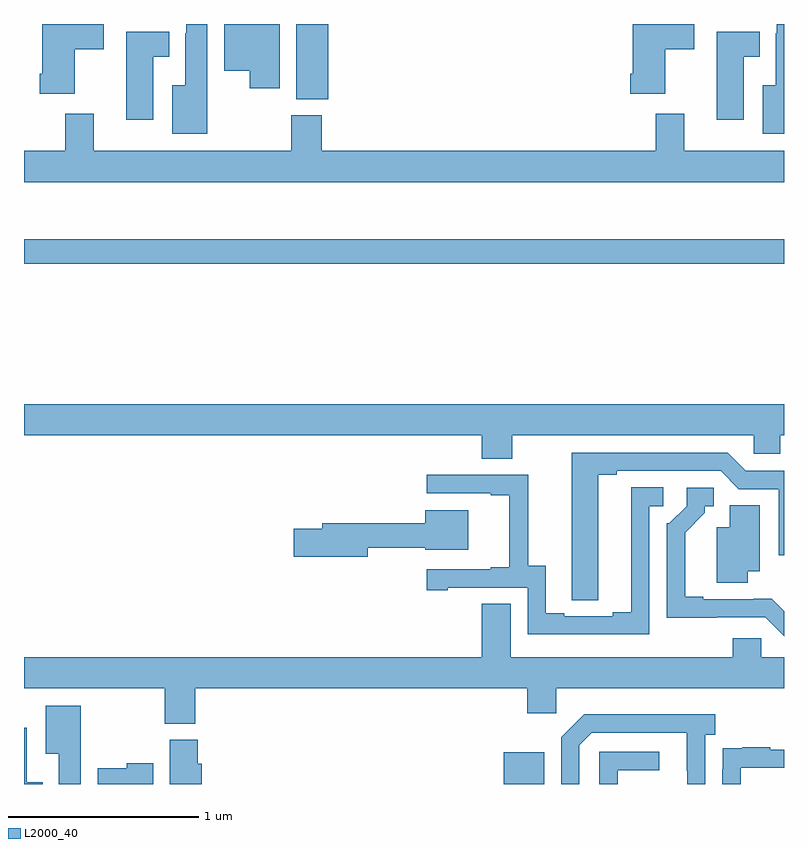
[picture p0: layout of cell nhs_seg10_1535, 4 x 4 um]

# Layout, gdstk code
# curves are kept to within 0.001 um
import gdstk
lib = gdstk.Library(unit=1e-6, precision=1e-09)
def R(c, l, rs):  # rectangles x0, y0, x1, y1
    for r in rs: c.add(gdstk.rectangle(r[:2], r[2:], *l))
def P(c, l, *ps):  # polygons
    for p in ps: c.add(gdstk.Polygon(p, *l))
L2000_40 = (2000, 40)

nhs_seg10_1535 = lib.new_cell('nhs_seg10_1535')
R(nhs_seg10_1535, L2000_40, [(193.526,1278.5,193.738,1278.667), (191,1281.238,195,1281.367), (192.434,1282.105,192.602,1282.5)])
P(nhs_seg10_1535, L2000_40, [(194.374,1282.366),(194.527,1282.366),(194.527,1282.5),(194.204,1282.5),(194.204,1282.237),(194.192,1282.237),(194.192,1282.133),(194.374,1282.133)],
  [(195,1282.5),(194.961,1282.5),(194.961,1282.451),(194.957,1282.451),(194.957,1282.177),(194.888,1282.177),(194.888,1281.923),(195,1281.923)],
  [(191.965,1282.5),(191.853,1282.5),(191.853,1282.451),(191.849,1282.451),(191.849,1282.177),(191.78,1282.177),(191.78,1281.923),(191.965,1281.923)],
  [(191.266,1282.366),(191.419,1282.366),(191.419,1282.5),(191.096,1282.5),(191.096,1282.237),(191.084,1282.237),(191.084,1282.133),(191.266,1282.133)],
  [(192.346,1282.5),(192.053,1282.5),(192.053,1282.253),(192.188,1282.253),(192.188,1282.161),(192.346,1282.161)],
  [(194.788,1282.328),(194.872,1282.328),(194.872,1282.459),(194.645,1282.459),(194.645,1281.996),(194.788,1281.996)],
  [(191.68,1282.328),(191.764,1282.328),(191.764,1282.459),(191.537,1282.459),(191.537,1281.996),(191.68,1281.996)],
  [(195,1281.832),(194.476,1281.832),(194.476,1282.027),(194.324,1282.027),(194.324,1281.832),(192.566,1281.832),(192.566,1282.02),(192.406,1282.02),(192.406,1281.832),(191.368,1281.832),(191.368,1282.027),(191.216,1282.027),(191.216,1281.832),(191,1281.832),(191,1281.668),(195,1281.668)],
  [(193.569,1280.336),(194.841,1280.336),(194.841,1280.238),(194.979,1280.238),(194.979,1280.336),(195,1280.336),(195,1280.5),(191,1280.5),(191,1280.336),(193.409,1280.336),(193.409,1280.212),(193.569,1280.212)],
  [(194.023,1280.128),(194.119,1280.128),(194.119,1280.148),(194.667,1280.148),(194.763,1280.052),(194.973,1280.052),(194.973,1279.704),(195,1279.704),(195,1280.148),(194.799,1280.148),(194.703,1280.244),(193.883,1280.244),(193.884,1279.468),(194.023,1279.468)],
  [(194.292,1279.962),(194.365,1279.962),(194.365,1280.063),(194.195,1280.063),(194.195,1279.403),(194.099,1279.403),(194.099,1279.383),(193.843,1279.383),(193.843,1279.398),(193.747,1279.398),(193.747,1279.649),(193.653,1279.649),(193.653,1280.127),(193.119,1280.127),(193.119,1280.031),(193.457,1280.031),(193.457,1280.019),(193.553,1280.019),(193.553,1279.642),(193.457,1279.642),(193.457,1279.629),(193.119,1279.629),(193.119,1279.521),(193.231,1279.521),(193.231,1279.533),(193.65,1279.533),(193.65,1279.287),(194.292,1279.287)],
  [(195,1279.41),(194.936,1279.474),(194.575,1279.473),(194.575,1279.486),(194.479,1279.486),(194.479,1279.822),(194.584,1279.927),(194.584,1279.962),(194.629,1279.962),(194.629,1280.058),(194.487,1280.058),(194.487,1279.962),(194.397,1279.872),(194.382,1279.872),(194.382,1279.376),(194.901,1279.377),(195,1279.278)],
  [(194.809,1279.619),(194.872,1279.619),(194.872,1279.967),(194.714,1279.967),(194.714,1279.852),(194.645,1279.852),(194.645,1279.558),(194.809,1279.558)],
  [(192.808,1279.744),(193.112,1279.744),(193.112,1279.733),(193.339,1279.733),(193.339,1279.942),(193.112,1279.942),(193.112,1279.873),(192.569,1279.873),(192.569,1279.844),(192.42,1279.844),(192.42,1279.697),(192.808,1279.697)],
  [(191.9,1279.004),(193.649,1279.004),(193.649,1278.873),(193.8,1278.873),(193.8,1279.004),(195,1279.004),(195,1279.168),(194.88,1279.168),(194.88,1279.266),(194.729,1279.266),(194.729,1279.168),(193.561,1279.168),(193.561,1279.448),(193.409,1279.448),(193.409,1279.168),(191,1279.168),(191,1279.004),(191.74,1279.004),(191.74,1278.817),(191.9,1278.817)],
  [(191.299,1278.913),(191.114,1278.913),(191.114,1278.659),(191.183,1278.659),(191.183,1278.5),(191.299,1278.5)],
  [(193.923,1278.705),(193.989,1278.771),(194.489,1278.771),(194.49,1278.5),(194.586,1278.5),(194.586,1278.758),(194.638,1278.758),(194.638,1278.868),(193.948,1278.868),(193.827,1278.747),(193.827,1278.5),(193.923,1278.5)],
  [(191.098,1278.508),(191.014,1278.508),(191.014,1278.796),(191,1278.796),(191,1278.5),(191.098,1278.5)],
  [(191.936,1278.606),(191.915,1278.606),(191.915,1278.732),(191.768,1278.732),(191.768,1278.5),(191.936,1278.5)],
  [(194.772,1278.585),(195,1278.585),(195,1278.681),(194.927,1278.681),(194.927,1278.694),(194.779,1278.694),(194.779,1278.687),(194.677,1278.687),(194.677,1278.578),(194.676,1278.578),(194.676,1278.5),(194.772,1278.5)],
  [(194.124,1278.573),(194.344,1278.573),(194.344,1278.669),(194.028,1278.669),(194.028,1278.5),(194.124,1278.5)],
  [(191.68,1278.61),(191.541,1278.61),(191.541,1278.583),(191.387,1278.583),(191.387,1278.5),(191.68,1278.5)])

lib.write_gds('nhs_seg10_1535.gds')
